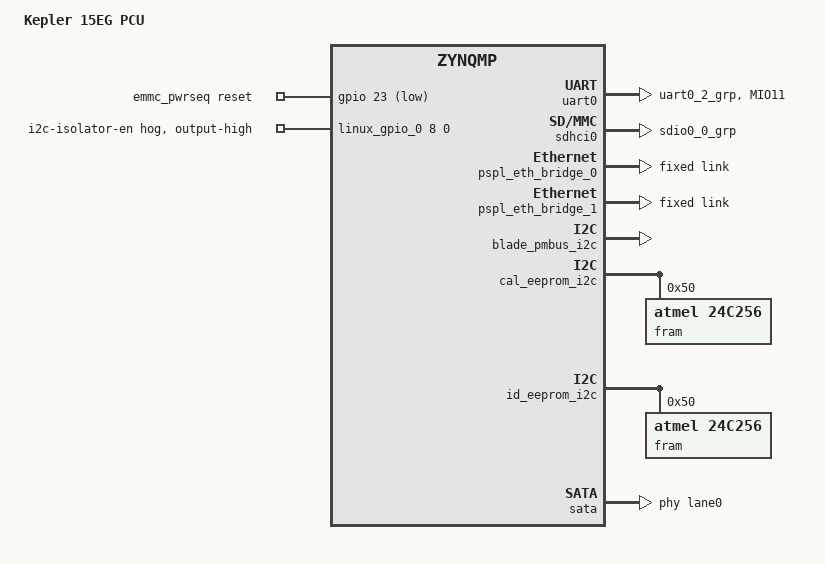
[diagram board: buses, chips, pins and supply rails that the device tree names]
/include/ "system-conf.dtsi"

#include "dt-bindings/gpio/gpio.h"
#include "dt-bindings/phy/phy.h"
#include "dt-bindings/pinctrl/pinctrl-zynqmp.h"

/ {
    model = "Kepler 15EG PCU";
    compatible = "kepler,pcu-15eg", "xlnx,zynqmp";
    aliases {
      ethernet0 = &pspl_eth_bridge_0;
      ethernet1 = &pspl_eth_bridge_1;
      ethernet2 = &gem0;
      ethernet3 = &gem1;
      ethernet4 = &gem2;
      ethernet5 = &gem3;
      serial0 = &uart0;
      spi0 = &qspi;
      i2c0 = &blade_pmbus_i2c;
      i2c1 = &cal_eeprom_i2c;
      i2c2 = &id_eeprom_i2c;
    };

    emmc_pwrseq: emmc_pwrseq {
      compatible = "mmc-pwrseq-emmc";
      reset-gpios = <&gpio 23 GPIO_ACTIVE_LOW>;
    };
};
&master_debug_hier_debug_bridge_0 {
    compatible = "xlnx,xvc";
};
&gpu {
    // Disable the GPU. It is not currently used.
    status = "disabled";
};
&uart0 {
    pinctrl-names = "default";
    pinctrl-0 = <&pinctrl_uart0_default>;
};
&qspi {
    is-stacked = <1>;
    num-cs = <2>;
};
&flash0 {
    compatible = "m25p80";
    spi-max-frequency = <30000000>;
    spi-tx-bus-width = <0x1>;
    spi-rx-bus-width = <0x4>;
};
&sdhci0 {
    // eMMC
    pinctrl-names = "default";
    pinctrl-0 = <&pinctrl_sdhci0_default>;
    disable-wp;
    non-removeable;
    fixed-emmc-driver-type;
    mmc-pwrseq = <&emmc_pwrseq>;
};
&pspl_eth_bridge_0 {
    local-mac-address = [aa aa aa aa aa ca];
    // There is no PHY (and hence no MDIO) on PL Ethernet since it is connected
    // directly to the DVB-S2 modem within the FPGA. Force a 1Gbps full-duplex
    // link.
    fixed-link {
        speed = <1000>;
        full-duplex;
    };
    /delete-node/ mdio;
};
&pspl_eth_bridge_1 {
    local-mac-address = [aa aa aa aa aa cb];
    // There is no PHY (and hence no MDIO) on PL Ethernet since it is connected
    // directly to the DVB-S2 modem within the FPGA. Force a 1Gbps full-duplex
    // link.
    fixed-link {
        speed = <1000>;
        full-duplex;
    };
    /delete-node/ mdio;
};

&pinctrl0 {
    status = "okay";

    pinctrl_uart0_default: uart0-default {
        mux {
            groups = "uart0_2_grp";
            function = "uart0";
        };

        conf {
            groups = "uart0_2_grp";
            slew-rate = <SLEW_RATE_SLOW>;
            io-standard = <IO_STANDARD_LVCMOS18>;
            drive-strength = <DRIVE_STRENGTH_12MA>;
        };

       conf-tx {
            pins = "MIO11";
            bias-disable;
        };
    };

   pinctrl_sdhci0_default: sdhci0-default {
        mux {
            groups = "sdio0_0_grp";
            function = "sdio0";
        };

        conf {
            groups = "sdio0_0_grp";
            slew-rate = <SLEW_RATE_SLOW>;
            io-standard = <IO_STANDARD_LVCMOS18>;
            bias-disable;
            drive-strength = <DRIVE_STRENGTH_12MA>;
        };
    };
};
&blade_pmbus_i2c {
    status = "okay";
};
&cal_eeprom_i2c {
    status = "okay";
    // ECPv0
    // eeprom@50 {
    //     compatible = "atmel,24c512";
    //     reg = <0x50>;
    // };

    // ECPv1
    fram@50 {
      compatible = "atmel,24c256";
      reg = <0x50>;
      pagesize = <32768>;
    };
};
&id_eeprom_i2c {
    status = "okay";
    // ECPv0
    // eeprom@50 {
    //     compatible = "atmel,24c02";
    //     reg = <0x50>;
    // };
    // eeprom@58 {
    //     compatible = "atmel,24mac402";
    //     reg = <0x58>;
    // };

    // ECPv1
    fram@50 {
      compatible = "atmel,24c256";
      reg = <0x50>;
      pagesize = <32768>;
    };
};
&linux_gpio_0 {
    status = "okay";
    ngpios = <32>;
    gpio-reserved-ranges = <5 3>, <9 23>;
    gpio-line-names = "card-id-0", "card-id-1", "card-id-2", "card-id-3", "card-id-4",
        "", "", "", "i2c-isolator-en", "",
        "", "", "", "", "", "", "", "", "", "",
        "", "", "", "", "", "", "", "", "", "",
        "", "";

    i2c-isolator-en-hog {
        gpio-hog;
        gpios = <8 0 0>;
        output-high;
        line-name = "i2c-isolator-en";
    };
};
&axi_inc_linux {
    status = "okay";
};
&sata {
    status = "okay";
    phy-names = "sata-phy";
    phys = <&lane0 PHY_TYPE_SATA 0 0 150000000>;
&gem0 {
    local-mac-address = [aa aa aa aa aa aa];
    fixed-link {
        speed = <1000>;
        full-duplex;
    };
};
&gem1 {
    local-mac-address = [aa aa aa aa aa ab];
    fixed-link {
        speed = <1000>;
        full-duplex;
    };
};
&gem2 {
    local-mac-address = [aa aa aa aa aa ac];
    fixed-link {
        speed = <1000>;
        full-duplex;
    };
};
&gem3 {
    local-mac-address = [aa aa aa aa aa ad];
    fixed-link {
        speed = <1000>;
        full-duplex;
    };
};
